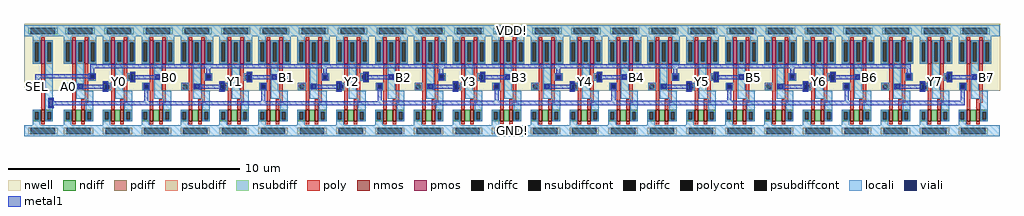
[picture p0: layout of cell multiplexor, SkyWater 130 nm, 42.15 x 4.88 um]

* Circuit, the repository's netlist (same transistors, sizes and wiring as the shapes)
* NGSPICE file created from multiplexor.ext - technology: sky130A

.subckt nand2 VDD GND Y A B
X0 a_94_6# A GND GND sky130_fd_pr__nfet_01v8 ad=1.25e+11p pd=1.5e+06u as=1.8e+11p ps=1.72e+06u w=500000u l=150000u
X1 VDD B Y VDD sky130_fd_pr__pfet_01v8 ad=7.2e+11p pd=5.44e+06u as=3.9e+11p ps=2.78e+06u w=1e+06u l=150000u
X2 Y A VDD VDD sky130_fd_pr__pfet_01v8 ad=0p pd=0u as=0p ps=0u w=1e+06u l=150000u
X3 Y B a_94_6# GND sky130_fd_pr__nfet_01v8 ad=1.8e+11p pd=1.72e+06u as=0p ps=0u w=500000u l=150000u
.ends

.subckt inv VDD GND Y A
X0 Y A GND GND sky130_fd_pr__nfet_01v8 ad=1.8e+11p pd=1.72e+06u as=1.8e+11p ps=1.72e+06u w=500000u l=150000u
X1 Y A VDD VDD sky130_fd_pr__pfet_01v8 ad=3.6e+11p pd=2.72e+06u as=3.6e+11p ps=2.72e+06u w=1e+06u l=150000u
.ends

*.subckt multiplexor A2 Y2 B2 A3 Y3 B3 A0 Y0 B0 A1 Y1 B1 A6 Y6 B6 A7 Y7 B7 A4 Y4 B4
+ A5 Y5 B5 SEL
Xnand2_18 VDD GND nand2_19/A A6 SEL nand2
Xnand2_6 VDD GND nand2_7/A A2 SEL nand2
Xnand2_19 VDD GND Y6 nand2_19/A nand2_21/Y nand2
Xnand2_7 VDD GND Y2 nand2_7/A nand2_8/Y nand2
Xnand2_8 VDD GND nand2_8/Y inv_0/Y B2 nand2
Xnand2_9 VDD GND nand2_9/Y A3 SEL nand2
Xinv_0 VDD GND inv_0/Y SEL inv
Xnand2_20 VDD GND nand2_22/A A7 SEL nand2
Xnand2_21 VDD GND nand2_21/Y inv_0/Y B6 nand2
Xnand2_10 VDD GND Y3 nand2_9/Y nand2_11/Y nand2
Xnand2_22 VDD GND Y7 nand2_22/A nand2_23/Y nand2
Xnand2_11 VDD GND nand2_11/Y inv_0/Y B3 nand2
Xnand2_23 VDD GND nand2_23/Y inv_0/Y B7 nand2
Xnand2_12 VDD GND nand2_13/A A4 SEL nand2
Xnand2_0 VDD GND nand2_1/A A0 SEL nand2
Xnand2_13 VDD GND Y4 nand2_13/A nand2_14/Y nand2
Xnand2_2 VDD GND nand2_2/Y inv_0/Y B0 nand2
Xnand2_1 VDD GND Y0 nand2_1/A nand2_2/Y nand2
Xnand2_14 VDD GND nand2_14/Y inv_0/Y B4 nand2
Xnand2_3 VDD GND nand2_4/B inv_0/Y B1 nand2
Xnand2_16 VDD GND Y5 nand2_16/A nand2_17/Y nand2
Xnand2_15 VDD GND nand2_16/A A5 SEL nand2
Xnand2_4 VDD GND Y1 nand2_5/Y nand2_4/B nand2
Xnand2_17 VDD GND nand2_17/Y inv_0/Y B5 nand2
Xnand2_5 VDD GND nand2_5/Y A1 SEL nand2
*.ends

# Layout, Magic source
magic
tech sky130A
magscale 1 2
<< locali >>
rect -264 864 8158 960
rect -186 398 -120 423
rect -84 321 -18 630
rect 82 398 148 464
rect 184 449 250 630
rect 286 537 352 546
rect 286 503 305 537
rect 339 503 352 537
rect 286 480 352 503
rect 184 415 204 449
rect 238 415 250 449
rect 184 328 250 415
rect 453 398 484 464
rect 520 328 586 630
rect 622 480 654 546
rect 856 530 922 630
rect 856 496 869 530
rect 903 496 922 530
rect 754 447 820 464
rect 754 413 773 447
rect 807 413 820 447
rect 754 398 820 413
rect 856 328 922 496
rect 958 480 1024 546
rect 1090 398 1156 464
rect 1192 449 1258 630
rect 1294 532 1360 546
rect 1294 498 1307 532
rect 1341 498 1360 532
rect 1294 480 1360 498
rect 1192 415 1212 449
rect 1246 415 1258 449
rect 1192 328 1258 415
rect 1461 398 1492 464
rect 1528 328 1594 630
rect 1630 480 1662 546
rect 1864 530 1930 630
rect 1864 496 1877 530
rect 1911 496 1930 530
rect 1762 447 1828 464
rect 1762 413 1783 447
rect 1817 413 1828 447
rect 1762 398 1828 413
rect 1864 328 1930 496
rect 1966 480 2032 546
rect 2098 398 2164 464
rect 2200 449 2266 630
rect 2302 530 2368 546
rect 2302 496 2315 530
rect 2349 496 2368 530
rect 2302 480 2368 496
rect 2200 415 2220 449
rect 2254 415 2266 449
rect 2200 328 2266 415
rect 2469 398 2500 464
rect 2536 328 2602 630
rect 2638 480 2670 546
rect 2872 530 2938 630
rect 2872 496 2885 530
rect 2919 496 2938 530
rect 2770 449 2836 464
rect 2770 415 2787 449
rect 2821 415 2836 449
rect 2770 398 2836 415
rect 2872 328 2938 496
rect 2974 480 3040 546
rect 3106 398 3172 464
rect 3208 449 3274 630
rect 3310 532 3376 546
rect 3310 498 3319 532
rect 3353 498 3376 532
rect 3310 480 3376 498
rect 3208 415 3228 449
rect 3262 415 3274 449
rect 3208 328 3274 415
rect 3477 398 3508 464
rect 3544 328 3610 630
rect 3646 480 3678 546
rect 3880 530 3946 630
rect 3880 496 3893 530
rect 3927 496 3946 530
rect 3778 447 3844 464
rect 3778 413 3799 447
rect 3833 413 3844 447
rect 3778 398 3844 413
rect 3880 328 3946 496
rect 3982 480 4048 546
rect 4114 398 4180 464
rect 4216 449 4282 630
rect 4318 530 4384 546
rect 4318 496 4331 530
rect 4365 496 4384 530
rect 4318 480 4384 496
rect 4216 415 4236 449
rect 4270 415 4282 449
rect 4216 328 4282 415
rect 4485 398 4516 464
rect 4552 328 4618 630
rect 4654 480 4686 546
rect 4888 530 4954 630
rect 4888 496 4901 530
rect 4935 496 4954 530
rect 4786 449 4852 464
rect 4786 415 4807 449
rect 4841 415 4852 449
rect 4786 398 4852 415
rect 4888 328 4954 496
rect 4990 480 5056 546
rect 5122 398 5188 464
rect 5224 449 5290 630
rect 5326 528 5392 546
rect 5326 494 5341 528
rect 5375 494 5392 528
rect 5326 480 5392 494
rect 5224 415 5244 449
rect 5278 415 5290 449
rect 5224 328 5290 415
rect 5493 398 5524 464
rect 5560 328 5626 630
rect 5662 480 5694 546
rect 5896 530 5962 630
rect 5896 496 5909 530
rect 5943 496 5962 530
rect 5794 449 5860 464
rect 5794 415 5807 449
rect 5841 415 5860 449
rect 5794 398 5860 415
rect 5896 328 5962 496
rect 5998 480 6064 546
rect 6130 398 6196 464
rect 6232 449 6298 630
rect 6334 536 6400 546
rect 6334 502 6351 536
rect 6385 502 6400 536
rect 6334 480 6400 502
rect 6232 415 6252 449
rect 6286 415 6298 449
rect 6232 328 6298 415
rect 6501 398 6532 464
rect 6568 328 6634 630
rect 6670 480 6702 546
rect 6904 530 6970 630
rect 6904 496 6917 530
rect 6951 496 6970 530
rect 6802 447 6868 464
rect 6802 413 6821 447
rect 6855 413 6868 447
rect 6802 398 6868 413
rect 6904 328 6970 496
rect 7006 480 7072 546
rect 7138 398 7204 464
rect 7240 449 7306 630
rect 7342 538 7408 546
rect 7342 504 7357 538
rect 7391 504 7408 538
rect 7342 480 7408 504
rect 7240 415 7260 449
rect 7294 415 7306 449
rect 7240 328 7306 415
rect 7509 398 7540 464
rect 7576 328 7642 630
rect 7678 480 7710 546
rect 7912 530 7978 630
rect 7912 496 7925 530
rect 7959 496 7978 530
rect 7810 451 7876 464
rect 7810 417 7825 451
rect 7859 417 7876 451
rect 7810 398 7876 417
rect 7912 328 7978 496
rect 8014 480 8080 546
rect -84 255 -53 321
rect -84 230 -18 255
rect -264 0 8158 96
<< viali >>
rect -186 423 -120 464
rect 305 503 339 537
rect 204 415 238 449
rect 418 398 453 464
rect 654 480 688 546
rect 869 496 903 530
rect 773 413 807 447
rect 1307 498 1341 532
rect 1212 415 1246 449
rect 1426 398 1461 464
rect 1662 480 1696 546
rect 1877 496 1911 530
rect 1783 413 1817 447
rect 2315 496 2349 530
rect 2220 415 2254 449
rect 2434 398 2469 464
rect 2670 480 2704 546
rect 2885 496 2919 530
rect 2787 415 2821 449
rect 3319 498 3353 532
rect 3228 415 3262 449
rect 3442 398 3477 464
rect 3678 480 3712 546
rect 3893 496 3927 530
rect 3799 413 3833 447
rect 4331 496 4365 530
rect 4236 415 4270 449
rect 4450 398 4485 464
rect 4686 480 4720 546
rect 4901 496 4935 530
rect 4807 415 4841 449
rect 5341 494 5375 528
rect 5244 415 5278 449
rect 5458 398 5493 464
rect 5694 480 5728 546
rect 5909 496 5943 530
rect 5807 415 5841 449
rect 6351 502 6385 536
rect 6252 415 6286 449
rect 6466 398 6501 464
rect 6702 480 6736 546
rect 6917 496 6951 530
rect 6821 413 6855 447
rect 7357 504 7391 538
rect 7260 415 7294 449
rect 7474 398 7509 464
rect 7710 480 7744 546
rect 7925 496 7959 530
rect 7825 417 7859 451
rect -53 255 -18 321
<< metal1 >>
rect 305 589 7390 622
rect 305 543 338 589
rect 648 546 694 558
rect 293 537 351 543
rect 293 536 305 537
rect -169 503 305 536
rect 339 503 351 537
rect -169 470 -136 503
rect 293 497 351 503
rect 648 480 654 546
rect 688 530 694 546
rect 1307 544 1340 589
rect 1656 546 1702 558
rect 857 530 915 536
rect 688 496 869 530
rect 903 496 915 530
rect 688 480 694 496
rect 857 490 915 496
rect 1301 532 1347 544
rect 1301 498 1307 532
rect 1341 498 1347 532
rect 1301 486 1347 498
rect -198 464 -108 470
rect -198 423 -186 464
rect -120 423 -108 464
rect 412 464 459 476
rect 648 468 694 480
rect 1656 480 1662 546
rect 1696 530 1702 546
rect 2315 542 2348 589
rect 2664 546 2710 558
rect 1865 530 1923 536
rect 1696 496 1877 530
rect 1911 496 1923 530
rect 1696 480 1702 496
rect 1865 490 1923 496
rect 2309 530 2355 542
rect 2309 496 2315 530
rect 2349 496 2355 530
rect 2309 484 2355 496
rect -198 417 -108 423
rect 192 449 250 455
rect 412 449 418 464
rect 192 415 204 449
rect 238 415 418 449
rect 192 414 418 415
rect 192 409 250 414
rect 412 398 418 414
rect 453 398 459 464
rect 1420 464 1467 476
rect 1656 468 1702 480
rect 2664 480 2670 546
rect 2704 530 2710 546
rect 3319 544 3352 589
rect 3672 546 3718 558
rect 2873 530 2931 536
rect 2704 496 2885 530
rect 2919 496 2931 530
rect 2704 480 2710 496
rect 2873 490 2931 496
rect 3313 532 3359 544
rect 3313 498 3319 532
rect 3353 498 3359 532
rect 3313 486 3359 498
rect 767 447 813 459
rect 767 413 773 447
rect 807 413 813 447
rect 767 401 813 413
rect 1200 449 1258 455
rect 1420 449 1426 464
rect 1200 415 1212 449
rect 1246 415 1426 449
rect 1200 414 1426 415
rect 1200 409 1258 414
rect 412 386 459 398
rect -59 321 -12 333
rect -59 255 -53 321
rect -18 306 -12 321
rect 772 306 807 401
rect 1420 398 1426 414
rect 1461 398 1467 464
rect 2428 464 2475 476
rect 2664 468 2710 480
rect 3672 480 3678 546
rect 3712 530 3718 546
rect 4331 542 4364 589
rect 4680 546 4726 558
rect 3881 530 3939 536
rect 3712 496 3893 530
rect 3927 496 3939 530
rect 3712 480 3718 496
rect 3881 490 3939 496
rect 4325 530 4371 542
rect 4325 496 4331 530
rect 4365 496 4371 530
rect 4325 484 4371 496
rect 1777 447 1823 459
rect 1777 413 1783 447
rect 1817 413 1823 447
rect 1777 401 1823 413
rect 2208 449 2266 455
rect 2428 449 2434 464
rect 2208 415 2220 449
rect 2254 415 2434 449
rect 2208 414 2434 415
rect 2208 409 2266 414
rect 1420 386 1467 398
rect 1782 306 1817 401
rect 2428 398 2434 414
rect 2469 398 2475 464
rect 3436 464 3483 476
rect 3672 468 3718 480
rect 4680 480 4686 546
rect 4720 530 4726 546
rect 5341 540 5374 589
rect 5688 546 5734 558
rect 6351 548 6384 589
rect 4889 530 4947 536
rect 4720 496 4901 530
rect 4935 496 4947 530
rect 4720 480 4726 496
rect 4889 490 4947 496
rect 5335 528 5381 540
rect 5335 494 5341 528
rect 5375 494 5381 528
rect 5335 482 5381 494
rect 2781 449 2827 461
rect 2781 415 2787 449
rect 2821 415 2827 449
rect 2781 403 2827 415
rect 3216 449 3274 455
rect 3436 449 3442 464
rect 3216 415 3228 449
rect 3262 415 3442 449
rect 3216 414 3442 415
rect 3216 409 3274 414
rect 2428 386 2475 398
rect 2786 307 2821 403
rect 3436 398 3442 414
rect 3477 398 3483 464
rect 4444 464 4491 476
rect 4680 468 4726 480
rect 5688 480 5694 546
rect 5728 530 5734 546
rect 6345 536 6391 548
rect 5897 530 5955 536
rect 5728 496 5909 530
rect 5943 496 5955 530
rect 5728 480 5734 496
rect 5897 490 5955 496
rect 6345 502 6351 536
rect 6385 502 6391 536
rect 6345 490 6391 502
rect 6696 546 6742 558
rect 7357 550 7390 589
rect 3793 447 3839 459
rect 3793 413 3799 447
rect 3833 413 3839 447
rect 3793 401 3839 413
rect 4224 449 4282 455
rect 4444 449 4450 464
rect 4224 415 4236 449
rect 4270 415 4450 449
rect 4224 414 4450 415
rect 4224 409 4282 414
rect 3436 386 3483 398
rect 3798 307 3833 401
rect 4444 398 4450 414
rect 4485 398 4491 464
rect 5452 464 5499 476
rect 5688 468 5734 480
rect 6696 480 6702 546
rect 6736 530 6742 546
rect 7351 538 7397 550
rect 6905 530 6963 536
rect 6736 496 6917 530
rect 6951 496 6963 530
rect 6736 480 6742 496
rect 6905 490 6963 496
rect 7351 504 7357 538
rect 7391 504 7397 538
rect 7351 492 7397 504
rect 7704 546 7750 558
rect 4801 449 4847 461
rect 4801 415 4807 449
rect 4841 415 4847 449
rect 4801 403 4847 415
rect 5232 449 5290 455
rect 5452 449 5458 464
rect 5232 415 5244 449
rect 5278 415 5458 449
rect 5232 414 5458 415
rect 5232 409 5290 414
rect 4444 386 4491 398
rect 4806 307 4841 403
rect 5452 398 5458 414
rect 5493 398 5499 464
rect 6460 464 6507 476
rect 6696 468 6742 480
rect 7704 480 7710 546
rect 7744 530 7750 546
rect 7913 530 7971 536
rect 7744 496 7925 530
rect 7959 496 7971 530
rect 7744 480 7750 496
rect 7913 490 7971 496
rect 5801 449 5847 461
rect 5801 415 5807 449
rect 5841 415 5847 449
rect 5801 403 5847 415
rect 6240 449 6298 455
rect 6460 449 6466 464
rect 6240 415 6252 449
rect 6286 415 6466 449
rect 6240 414 6466 415
rect 6240 409 6298 414
rect 5452 386 5499 398
rect 5806 307 5841 403
rect 6460 398 6466 414
rect 6501 398 6507 464
rect 7468 464 7515 476
rect 7704 468 7750 480
rect 6815 447 6861 459
rect 6815 413 6821 447
rect 6855 413 6861 447
rect 6815 401 6861 413
rect 7248 449 7306 455
rect 7468 449 7474 464
rect 7248 415 7260 449
rect 7294 415 7474 449
rect 7248 414 7474 415
rect 7248 409 7306 414
rect 6460 386 6507 398
rect 6820 307 6855 401
rect 7468 398 7474 414
rect 7509 398 7515 464
rect 7819 451 7865 463
rect 7819 417 7825 451
rect 7859 417 7865 451
rect 7819 405 7865 417
rect 7468 386 7515 398
rect 7824 307 7859 405
rect 2786 306 7859 307
rect -18 272 7859 306
rect -18 271 2821 272
rect -18 255 -12 271
rect -59 243 -12 255
use inv  inv_0
transform 1 0 -184 0 1 124
box -84 -124 242 852
use nand2  nand2_0
transform 1 0 84 0 1 124
box -84 -124 350 852
use nand2  nand2_1
transform 1 0 420 0 1 124
box -84 -124 350 852
use nand2  nand2_2
transform 1 0 756 0 1 124
box -84 -124 350 852
use nand2  nand2_3
transform 1 0 1764 0 1 124
box -84 -124 350 852
use nand2  nand2_4
transform 1 0 1428 0 1 124
box -84 -124 350 852
use nand2  nand2_5
transform 1 0 1092 0 1 124
box -84 -124 350 852
use nand2  nand2_6
transform 1 0 2100 0 1 124
box -84 -124 350 852
use nand2  nand2_7
transform 1 0 2436 0 1 124
box -84 -124 350 852
use nand2  nand2_8
transform 1 0 2772 0 1 124
box -84 -124 350 852
use nand2  nand2_9
transform 1 0 3108 0 1 124
box -84 -124 350 852
use nand2  nand2_10
transform 1 0 3444 0 1 124
box -84 -124 350 852
use nand2  nand2_11
transform 1 0 3780 0 1 124
box -84 -124 350 852
use nand2  nand2_12
transform 1 0 4116 0 1 124
box -84 -124 350 852
use nand2  nand2_13
transform 1 0 4452 0 1 124
box -84 -124 350 852
use nand2  nand2_14
transform 1 0 4788 0 1 124
box -84 -124 350 852
use nand2  nand2_15
transform 1 0 5124 0 1 124
box -84 -124 350 852
use nand2  nand2_16
transform 1 0 5460 0 1 124
box -84 -124 350 852
use nand2  nand2_17
transform 1 0 5796 0 1 124
box -84 -124 350 852
use nand2  nand2_18
transform 1 0 6132 0 1 124
box -84 -124 350 852
use nand2  nand2_19
transform 1 0 6468 0 1 124
box -84 -124 350 852
use nand2  nand2_20
transform 1 0 7140 0 1 124
box -84 -124 350 852
use nand2  nand2_21
transform 1 0 6804 0 1 124
box -84 -124 350 852
use nand2  nand2_22
transform 1 0 7476 0 1 124
box -84 -124 350 852
use nand2  nand2_23
transform 1 0 7812 0 1 124
box -84 -124 350 852
<< labels >>
flabel locali s 520 328 586 630 0 FreeSerif 240 0 0 0 Y0
port 16 nsew
flabel locali s 82 398 148 464 0 FreeSerif 400 0 0 0 A0
port 15 nsew
flabel locali s 958 480 1024 546 0 FreeSerif 400 0 0 0 B0
port 17 nsew
flabel locali s 1090 398 1156 464 0 FreeSerif 400 0 0 0 A1
port 21 nsew
flabel locali s 1966 480 2032 546 0 FreeSerif 400 0 0 0 B1
port 23 nsew
flabel locali s 2098 398 2164 464 0 FreeSerif 400 0 0 0 A2
port 3 nsew
flabel locali s 2974 480 3040 546 0 FreeSerif 400 0 0 0 B2
port 5 nsew
flabel locali s 3106 398 3172 464 0 FreeSerif 400 0 0 0 A3
port 9 nsew
flabel locali s 3982 480 4048 546 0 FreeSerif 400 0 0 0 B3
port 11 nsew
flabel locali s 4114 398 4180 464 0 FreeSerif 400 0 0 0 A4
port 39 nsew
flabel locali s 4990 480 5056 546 0 FreeSerif 400 0 0 0 B4
port 41 nsew
flabel locali s 5122 398 5188 464 0 FreeSerif 400 0 0 0 A5
port 45 nsew
flabel locali s 5998 480 6064 546 0 FreeSerif 400 0 0 0 B5
port 47 nsew
flabel locali s 6130 398 6196 464 0 FreeSerif 400 0 0 0 A6
port 27 nsew
flabel locali s 7006 480 7072 546 0 FreeSerif 400 0 0 0 B6
port 29 nsew
flabel locali s 7138 398 7204 464 0 FreeSerif 400 0 0 0 A7
port 33 nsew
flabel locali s 8014 480 8080 546 0 FreeSerif 400 0 0 0 B7
port 35 nsew
flabel locali s -186 398 -120 464 0 FreeSerif 400 0 0 0 SEL
port 48 nsew
flabel locali s 1528 328 1594 630 0 FreeSerif 400 0 0 0 Y1
port 22 nsew
flabel locali s 2536 328 2602 630 0 FreeSerif 400 0 0 0 Y2
port 4 nsew
flabel locali s 3544 328 3610 630 0 FreeSerif 400 0 0 0 Y3
port 10 nsew
flabel locali s 4552 328 4618 630 0 FreeSerif 400 0 0 0 Y4
port 40 nsew
flabel locali s 5560 328 5626 630 0 FreeSerif 400 0 0 0 Y5
port 46 nsew
flabel locali s 6568 328 6634 630 0 FreeSerif 400 0 0 0 Y6
port 28 nsew
flabel locali s 7576 328 7642 630 0 FreeSerif 400 0 0 0 Y7
port 34 nsew
flabel locali s -264 864 8158 960 0 FreeSerif 400 0 0 0 VDD!
flabel locali s -264 0 8158 96 0 FreeSerif 400 0 0 0 GND!
<< end >>

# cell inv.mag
magic
tech sky130A
<< nwell >>
rect -42 135 121 426
<< nmos >>
rect 32 3 47 53
<< pmos >>
rect 32 253 47 353
<< ndiff >>
rect -4 45 32 53
rect -4 11 4 45
rect 21 11 32 45
rect -4 3 32 11
rect 47 45 83 53
rect 47 11 58 45
rect 75 11 83 45
rect 47 3 83 11
<< pdiff >>
rect -4 345 32 353
rect -4 261 4 345
rect 21 261 32 345
rect -4 253 32 261
rect 47 345 83 353
rect 47 261 58 345
rect 75 261 83 345
rect 47 253 83 261
<< ndiffc >>
rect 4 11 21 45
rect 58 11 75 45
<< pdiffc >>
rect 4 261 21 345
rect 58 261 75 345
<< psubdiff >>
rect -24 -52 -12 -24
rect 91 -52 103 -24
<< nsubdiff >>
rect -24 380 -12 408
rect 91 380 103 408
<< psubdiffcont >>
rect -12 -52 91 -24
<< nsubdiffcont >>
rect -12 380 91 408
<< poly >>
rect 32 353 47 366
rect 32 170 47 253
rect -1 162 47 170
rect -1 145 7 162
rect 24 145 47 162
rect -1 137 47 145
rect 32 53 47 137
rect 32 -10 47 3
<< polycont >>
rect 7 145 24 162
<< locali >>
rect -40 408 119 418
rect -40 380 -12 408
rect 91 380 119 408
rect -40 370 119 380
rect -4 345 29 370
rect -4 261 4 345
rect 21 261 29 345
rect -4 253 29 261
rect 50 345 83 353
rect 50 261 58 345
rect 75 261 83 345
rect -1 162 32 170
rect -1 145 7 162
rect 24 145 32 162
rect -1 137 32 145
rect -4 45 29 53
rect -4 11 4 45
rect 21 11 29 45
rect -4 -14 29 11
rect 50 45 83 261
rect 50 11 58 45
rect 75 11 83 45
rect 50 3 83 11
rect -40 -24 119 -14
rect -40 -52 -12 -24
rect 91 -52 119 -24
rect -40 -62 119 -52
<< labels >>
flabel locali -40 -62 119 -14 1 FreeSerif 80 0 0 0 GND!
port 1 n
flabel locali 50 53 83 253 1 FreeSerif 80 0 0 0 Y
port 2 n
flabel locali -1 137 32 170 0 FreeSerif 80 0 0 0 A
port 3 nsew
flabel locali -40 370 119 418 0 FreeSerif 80 0 0 0 VDD!
port 0 nsew
<< end >>

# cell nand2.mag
magic
tech sky130A
<< nwell >>
rect -42 135 175 426
<< nmos >>
rect 32 3 47 53
rect 72 3 87 53
<< pmos >>
rect 32 253 47 353
rect 86 253 101 353
<< ndiff >>
rect -4 45 32 53
rect -4 11 4 45
rect 21 11 32 45
rect -4 3 32 11
rect 47 3 72 53
rect 87 45 123 53
rect 87 11 98 45
rect 115 11 123 45
rect 87 3 123 11
<< pdiff >>
rect -4 345 32 353
rect -4 261 4 345
rect 21 261 32 345
rect -4 253 32 261
rect 47 345 86 353
rect 47 261 58 345
rect 75 261 86 345
rect 47 253 86 261
rect 101 345 137 353
rect 101 261 112 345
rect 129 261 137 345
rect 101 253 137 261
<< ndiffc >>
rect 4 11 21 45
rect 98 11 115 45
<< pdiffc >>
rect 4 261 21 345
rect 58 261 75 345
rect 112 261 129 345
<< psubdiff >>
rect -4 -52 8 -24
rect 111 -52 123 -24
<< nsubdiff >>
rect 3 380 15 408
rect 118 380 130 408
<< psubdiffcont >>
rect 8 -52 111 -24
<< nsubdiffcont >>
rect 15 380 118 408
<< poly >>
rect 32 353 47 366
rect 86 353 101 366
rect 32 170 47 253
rect -1 162 47 170
rect -1 145 7 162
rect 24 145 47 162
rect -1 137 47 145
rect 32 53 47 137
rect 86 211 101 253
rect 86 203 134 211
rect 86 186 109 203
rect 126 186 134 203
rect 86 178 134 186
rect 86 99 101 178
rect 72 84 101 99
rect 72 53 87 84
rect 32 -10 47 3
rect 72 -10 87 3
<< polycont >>
rect 7 145 24 162
rect 109 186 126 203
<< locali >>
rect -40 408 173 418
rect -40 380 15 408
rect 118 380 173 408
rect -40 370 173 380
rect -4 345 29 370
rect -4 261 4 345
rect 21 261 29 345
rect -4 253 29 261
rect 50 345 83 353
rect 50 261 58 345
rect 75 261 83 345
rect -1 162 32 170
rect -1 145 7 162
rect 24 145 32 162
rect -1 137 32 145
rect 50 135 83 261
rect 104 345 137 370
rect 104 261 112 345
rect 129 261 137 345
rect 104 253 137 261
rect 101 203 134 211
rect 101 186 109 203
rect 126 186 134 203
rect 101 178 134 186
rect 50 102 123 135
rect -4 45 29 53
rect -4 11 4 45
rect 21 11 29 45
rect -4 -14 29 11
rect 90 45 123 102
rect 90 11 98 45
rect 115 11 123 45
rect 90 3 123 11
rect -40 -24 173 -14
rect -40 -52 8 -24
rect 111 -52 173 -24
rect -40 -62 173 -52
<< labels >>
flabel locali -1 137 32 170 0 FreeSerif 80 0 0 0 A
port 3 nsew
flabel locali 101 178 134 211 0 FreeSerif 80 0 0 0 B
port 8 nsew
flabel locali 50 102 83 253 0 FreeSerif 80 0 0 0 Y
port 2 nsew
flabel locali -40 370 173 418 0 FreeSerif 80 0 0 0 VDD!
port 0 nsew
flabel locali -40 -62 173 -14 0 FreeSerif 80 0 0 0 GND!
port 1 nsew
<< end >>
